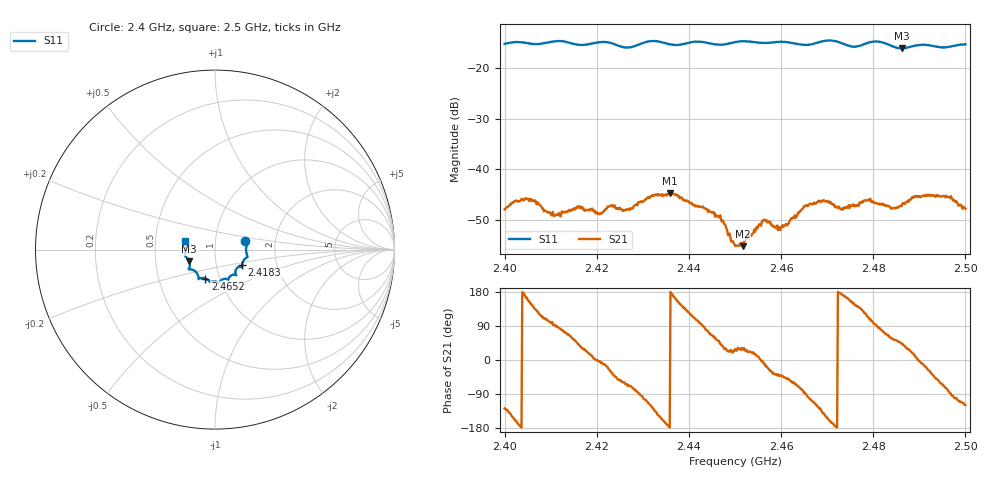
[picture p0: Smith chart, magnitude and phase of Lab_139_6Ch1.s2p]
# Hz S RI R 50
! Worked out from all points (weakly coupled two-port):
!   601 points, 2.4 GHz to 2.5 GHz, reference 50 ohm
!   highest |S21| = -44.73 dB at 2.4358 GHz (marker M1); lowest = -55.2 dB at 2.4517 GHz (marker M2)
!   lowest |S11| = -16.1 dB at 2.4862 GHz (marker M3), VSWR 1.37, Z = 37.2 - j4.89 ohm
!   |S11| at or under -10 dB: start of sweep to end of sweep
!   S12 and S22 are empty: the file has one direction only
!   S11 on the Smith chart (normalised r, x): 2.4 GHz: 1.40, +0.13; 2.4183 GHz: 1.33, -0.24; 2.4652 GHz: 0.85, -0.28; 2.5 GHz: 0.71, +0.07
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2.4e9  0.1681 0.0468  -0.00244 -0.00316  0 0  0 0
2.405e9  0.1757 0.0187  -0.00468 0.00184  0 0  0 0
2.411167e9  0.1813 -0.0386  0.000101 0.00352  0 0  0 0
2.416667e9  0.1556 -0.0682  0.00349 0.00234  0 0  0 0
2.418333e9  0.1502 -0.0866  0.00372 0.00116  0 0  0 0
2.426833e9  0.1197 -0.1061  0.00165 -0.00364  0 0  0 0
2.433333e9  0.1171 -0.1415  -0.00466 -0.00315  0 0  0 0
2.435833e9  0.102 -0.1393  -0.0058 -0.000183  0 0  0 0
2.446333e9  0.0509 -0.1634  0.00218 0.00268  0 0  0 0
2.45e9  0.0257 -0.1795  0.00154 0.000834  0 0  0 0
2.451667e9  0.0214 -0.1838  0.00149 0.000884  0 0  0 0
2.456333e9  -0.00303 -0.1778  0.00311 -0.000622  0 0  0 0
2.459833e9  -0.0263 -0.1808  0.00185 -0.00167  0 0  0 0
2.465167e9  -0.0546 -0.1611  0.000292 -0.00428  0 0  0 0
2.466667e9  -0.0707 -0.1577  -0.00135 -0.00432  0 0  0 0
2.473333e9  -0.0924 -0.1493  -0.00408 0.000653  0 0  0 0
2.478833e9  -0.1401 -0.11  -0.00206 0.00449  0 0  0 0
2.483333e9  -0.1414 -0.0966  0.00204 0.00383  0 0  0 0
2.486167e9  -0.1433 -0.0641  0.00311 0.00298  0 0  0 0
2.492167e9  -0.1666 -0.0264  0.00492 -0.0026  0 0  0 0
2.496333e9  -0.1612 0.0194  0.000699 -0.00525  0 0  0 0
2.5e9  -0.1655 0.0473  -0.00197 -0.00356  0 0  0 0
